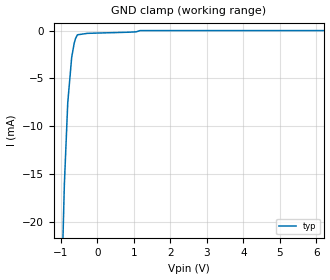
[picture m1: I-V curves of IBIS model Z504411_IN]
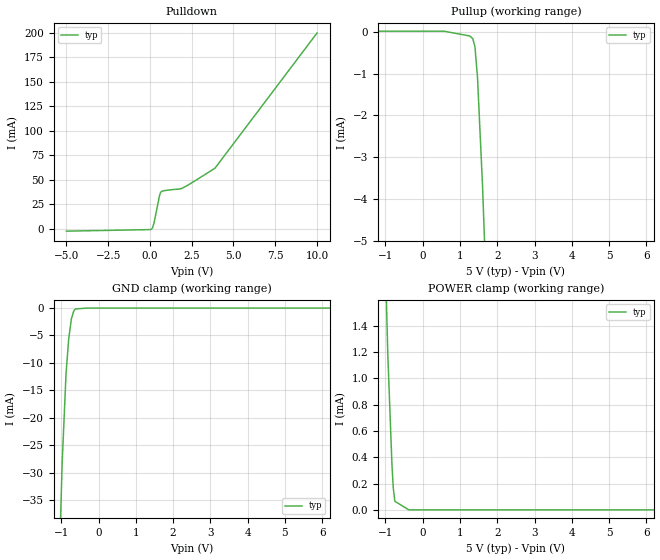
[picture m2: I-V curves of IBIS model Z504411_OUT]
| YOU ARE ONLY AUTHORIZED TO USE THIS SOFTWARE
| ACCORDING TO LICENSOR'S LICENSE RESTRICTIONS.
[IBIS Ver] 3.1
[File Name] sn54ls20j.ibs
[File Rev] 2.0
[Source] Measured and created by ICX Technology
[Date] Friday 7/14/00 9:08:14 AM
[Copyright]
| (C) COPYRIGHT 1993-2000
| MENTOR GRAPHICS CORPORATION
| ICX STANDARD LIBRARY, ICX PROJECT MODELING,
| ICX CUSTOM MODELING, ICX VENDOR MODEL
| ALL RIGHTS RESERVED.
| THE FOLLOWING ARE TRADEMARKS OR SERVICE MARKS OF
| MENTOR GRAPHICS CORPORATION:ICX (R), ICX STANDARD
| LIBRARY(R), ICX PROJECT MODELING(R), ICX CUSTOM
| MODELING(R), qualityIBIS(TM), MODELVIEWER(TM),
| AND MODELEDITOR(TM)
| ALL COPIES OF SOFTWARE, INCLUDING BUT NOT LIMITED TO
| ANY MODIFICATIONS, ENHANCEMENTS OR DERIVATIVE WORKS,
| MUST CONTAIN ALL MENTOR GRAPHICS CORPORATION'S
| NOTICES AND LEGENDS, INCLUDING THOSE EMBEDDED IN
| SOFTWARE AND THOSE AFFIXED TO SOFTWARE MEDIUM
| AND CONTAINER, AS RECEIVED FROM MENTOR GRAPHICS
| CORPORATION.
|  ZAP Model Builder 2.7
[Component] SN54LS20J
[Manufacturer] OnSemiconductor
[Package]
| variable   typ   min   max
R_pkg  .21ohms NA NA
L_pkg  4.543nH NA NA
C_pkg  1.8pF NA NA
[Pin] signal_name  model_name  R_pin  L_pin C_pin
1 A Z504411_IN .22 6.757n 2.434p
2 B Z504411_IN .212 4.757n 1.941p
3 NC NC .204 3.257n 1.448p
4 C Z504411_IN .196 2.257n .955p
5 D Z504411_IN .204 3.257n 1.448p
6 Y Z504411_OUT .212 4.757n 1.941p
7 GND GND .22 6.757n 2.434p
8 Y Z504411_OUT .22 6.757n 2.434p
9 A Z504411_IN .212 4.757n 1.941p
10 B Z504411_IN .204 3.257n 1.448p
11 NC NC .196 2.257n .955p
12 C Z504411_IN .204 3.257n 1.448p
13 D Z504411_IN .212 4.757n 1.941p
14 VCC POWER .22 6.757n 2.434p
| Models and submodels in the file (2): Z504411_IN (Input), Z504411_OUT (Output)
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| (C) COPYRIGHT 1993-2000
| MENTOR GRAPHICS CORPORATION
| ICX STANDARD LIBRARY, ICX PROJECT MODELING,
| ICX CUSTOM MODELING, ICX VENDOR MODEL
| ALL RIGHTS RESERVED.
| THE FOLLOWING ARE TRADEMARKS OR SERVICE MARKS OF
| MENTOR GRAPHICS CORPORATION:ICX (R), ICX STANDARD
| LIBRARY(R), ICX PROJECT MODELING(R), ICX CUSTOM
| MODELING(R), qualityIBIS(TM), MODELVIEWER(TM),
| AND MODELEDITOR(TM)
| ALL COPIES OF SOFTWARE, INCLUDING BUT NOT LIMITED TO
| ANY MODIFICATIONS, ENHANCEMENTS OR DERIVATIVE WORKS,
| MUST CONTAIN ALL MENTOR GRAPHICS CORPORATION'S
| NOTICES AND LEGENDS, INCLUDING THOSE EMBEDDED IN
| SOFTWARE AND THOSE AFFIXED TO SOFTWARE MEDIUM
| AND CONTAINER, AS RECEIVED FROM MENTOR GRAPHICS
| CORPORATION.
| Model Application Version 1.89 2/18/99.
[Model] Z504411_IN
Model_type Input
Vinl = 800.0mV
Vinh = 2.000V
C_comp 4.000pF NA NA
| variable typ   min   max
[Voltage Range] 5.000V NA NA
[GND Clamp Reference] 0.000V NA NA
[POWER Clamp Reference] 5.000V NA NA
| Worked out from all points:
|   GND clamp passes 1 mA (typ) near -0.61 V on its own axis
[GND Clamp]
-5V       -619mA     NA         NA
-903.2mV  -16.1mA    NA         NA
-810.5mV  -7.56mA    NA         NA
-702.6mV  -2.797mA   NA         NA
-633.9mV  -1.329mA   NA         NA
-600.6mV  -863.1uA   NA         NA
-546.6mV  -446.5uA   NA         NA
-273.3mV  -293.2uA   NA         NA
888.2mV   -171.1uA   NA         NA
1.067V    -130.9uA   NA         NA
1.169V    -3.743uA   NA         NA
10V       -3.743uA   NA         NA
[POWER Clamp]
-5V       0A         NA         NA
10V       0A         NA         NA
| (C) COPYRIGHT 1993-2000
| MENTOR GRAPHICS CORPORATION
| ICX STANDARD LIBRARY, ICX PROJECT MODELING,
| ICX CUSTOM MODELING, ICX VENDOR MODEL
| ALL RIGHTS RESERVED.
| THE FOLLOWING ARE TRADEMARKS OR SERVICE MARKS OF
| MENTOR GRAPHICS CORPORATION:ICX (R), ICX STANDARD
| LIBRARY(R), ICX PROJECT MODELING(R), ICX CUSTOM
| MODELING(R), qualityIBIS(TM), MODELVIEWER(TM),
| AND MODELEDITOR(TM)
| ALL COPIES OF SOFTWARE, INCLUDING BUT NOT LIMITED TO
| ANY MODIFICATIONS, ENHANCEMENTS OR DERIVATIVE WORKS,
| MUST CONTAIN ALL MENTOR GRAPHICS CORPORATION'S
| NOTICES AND LEGENDS, INCLUDING THOSE EMBEDDED IN
| SOFTWARE AND THOSE AFFIXED TO SOFTWARE MEDIUM
| AND CONTAINER, AS RECEIVED FROM MENTOR GRAPHICS
| CORPORATION.
| Model Application Version 1.89 2/18/99.
[Model] Z504411_OUT
Model_type Output
Vref=5.000V
Rref=2.000kohms
Cref=15.00pF
Vmeas=1.300V
C_comp 8.000pF NA NA
| variable typ   min   max
[Voltage Range] 5.000V NA NA
[POWER Clamp Reference] 5.000V NA NA
[Pullup Reference] 5.000V NA NA
[Pulldown Reference] 0.000V NA NA
[GND Clamp Reference] 0.000V NA NA
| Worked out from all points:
|   slope of the pulldown table from 0 to 0.75 V, typ, clamps not added: 19 ohm
|   slope of the pullup table from 0 to 0.75 V, typ, clamps not added: 24.9 kohm
|   GND clamp passes 1 mA (typ) near -0.69 V on its own axis
|   POWER clamp passes 1 mA (typ) near -0.91 V on its own axis
[GND Clamp]
-5V       -1.257A    NA         NA
-1.089V   -55.01mA   NA         NA
-976.4mV  -28.31mA   NA         NA
-872.2mV  -11.96mA   NA         NA
-800.8mV  -5.632mA   NA         NA
-727.4mV  -1.92mA    NA         NA
-664.1mV  -534.5uA   NA         NA
-625mV    -163.8uA   NA         NA
-312.5mV  0A         NA         NA
10V       0A         NA         NA
[Pulldown]
-5V       -2.573mA   NA         NA
87.89mV   -584.1uA   NA         NA
151.4mV   549.2uA    NA         NA
243.3mV   5.551mA    NA         NA
572.3mV   33.59mA    NA         NA
626.9mV   36.51mA    NA         NA
683.6mV   37.98mA    NA         NA
1.899V    41.05mA    NA         NA
3.892V    61.77mA    NA         NA
10V       200mA      NA         NA
[Pullup]
-5V       14.17uA    NA         NA
566mV     14.17uA    NA         NA
1.26V     -99.37uA   NA         NA
1.343V    -165.7uA   NA         NA
1.401V    -356.7uA   NA         NA
1.47V     -1.088mA   NA         NA
1.606V    -3.702mA   NA         NA
10V       -213.6mA   NA         NA
[POWER Clamp]
-5V       45.27mA    NA         NA
-937mV    1.179mA    NA         NA
-826mV    344.5uA    NA         NA
-791mV    166.5uA    NA         NA
-747mV    64.92uA    NA         NA
-373.5mV  0A         NA         NA
10V       0A         NA         NA
[Ramp]
| variable typ min max
dV/dt_r 1.903/6.412n NA NA
dV/dt_f 1.903/3.472n NA NA
R_load = 500.0Ohms
